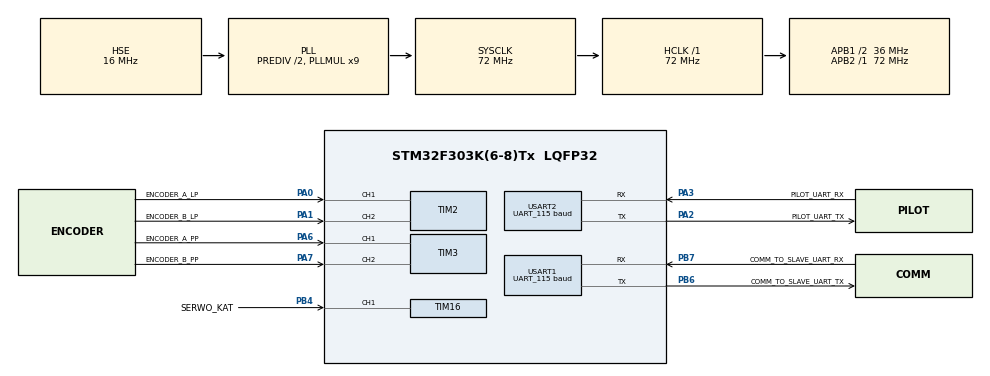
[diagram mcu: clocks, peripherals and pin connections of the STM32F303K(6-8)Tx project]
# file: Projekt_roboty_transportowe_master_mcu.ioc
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Dma.Request0=USART2_RX
Dma.USART2_RX.0.Direction=DMA_PERIPH_TO_MEMORY
Dma.USART2_RX.0.Instance=DMA1_Channel6
Dma.USART2_RX.0.MemDataAlignment=DMA_MDATAALIGN_BYTE
Dma.USART2_RX.0.MemInc=DMA_MINC_ENABLE
Dma.USART2_RX.0.Mode=DMA_CIRCULAR
Dma.USART2_RX.0.PeriphDataAlignment=DMA_PDATAALIGN_BYTE
Dma.USART2_RX.0.PeriphInc=DMA_PINC_DISABLE
Dma.USART2_RX.0.Priority=DMA_PRIORITY_HIGH
Mcu.Family=STM32F3
Mcu.Name=STM32F303K(6-8)Tx
Mcu.Package=LQFP32
Mcu.UserConstants=Hz100,99;Hz20,499;Hz10,999;Pre_20k_360,19;UART_115,115200;Pre_10kHz,7199;Pre_10k,7199;UART_SPEED_MCU,921600;Hz1000,9;Counter_20kHz_360,359;Counter_10kHz_1,9999;UART_230,230400
NVIC.DMA1_Channel6_IRQn=true\:0\:0\:false\:false\:true\:false\:true
NVIC.PriorityGroup=NVIC_PRIORITYGROUP_4
NVIC.TIM1_UP_TIM16_IRQn=true\:0\:0\:false\:false\:true\:true\:true
NVIC.TIM6_DAC1_IRQn=true\:0\:0\:false\:false\:true\:true\:true
NVIC.USART1_IRQn=true\:0\:0\:false\:false\:true\:true\:true
NVIC.USART2_IRQn=true\:0\:0\:false\:false\:true\:true\:true
PA0.GPIO_Label=ENCODER_A_LP
PA0.Signal=S_TIM2_CH1_ETR
PA1.GPIO_Label=ENCODER_B_LP
PA1.Signal=S_TIM2_CH2
PA13.Mode=Serial_Wire
PA13.Signal=SYS_JTMS-SWDIO
PA14.Mode=Serial_Wire
PA14.Signal=SYS_JTCK-SWCLK
PA2.GPIO_Label=PILOT_UART_TX
PA2.Mode=Asynchronous
PA2.Signal=USART2_TX
PA3.GPIO_Label=PILOT_UART_RX
PA3.Mode=Asynchronous
PA3.Signal=USART2_RX
PA6.GPIO_Label=ENCODER_A_PP
PA6.Signal=S_TIM3_CH1
PA7.GPIO_Label=ENCODER_B_PP
PA7.Signal=S_TIM3_CH2
PB4.GPIO_Label=SERWO_KAT
PB4.Signal=S_TIM16_CH1
PB6.GPIO_Label=COMM_TO_SLAVE_UART_TX
PB6.Mode=Asynchronous
PB6.Signal=USART1_TX
PB7.GPIO_Label=COMM_TO_SLAVE_UART_RX
PB7.Mode=Asynchronous
PB7.Signal=USART1_RX
PF0\ /\ OSC_IN.Mode=HSE-External-Clock-Source
PF0\ /\ OSC_IN.Signal=RCC_OSC_IN
ProjectManager.HeapSize=0x200
ProjectManager.StackSize=0x400
ProjectManager.TargetToolchain=STM32CubeIDE
RCC.AHBFreq_Value=72000000
RCC.APB1CLKDivider=RCC_HCLK_DIV2
RCC.APB1Freq_Value=36000000
RCC.APB1TimFreq_Value=72000000
RCC.APB2Freq_Value=72000000
RCC.APB2TimFreq_Value=72000000
RCC.CortexFreq_Value=72000000
RCC.HCLKFreq_Value=72000000
RCC.HSE_VALUE=16000000
RCC.HSI_VALUE=8000000
RCC.PLLMUL=RCC_PLL_MUL9
RCC.PLLSourceVirtual=RCC_PLLSOURCE_HSE
RCC.RCC_PLLsource_Clock_Source_FROM_HSE=RCC_HSE_PREDIV_DIV2
RCC.SYSCLKFreq_VALUE=72000000
RCC.SYSCLKSourceVirtual=RCC_SYSCLKSOURCE_PLLCLK
RCC.Usart1ClockSelection=RCC_USART1CLKSOURCE_SYSCLK
SH.S_TIM16_CH1.0=TIM16_CH1,Input_Capture1_from_TI1
SH.S_TIM2_CH1_ETR.0=TIM2_CH1,Encoder_Interface
SH.S_TIM2_CH2.0=TIM2_CH2,Encoder_Interface
SH.S_TIM3_CH1.0=TIM3_CH1,Encoder_Interface
SH.S_TIM3_CH2.0=TIM3_CH2,Encoder_Interface
TIM16.Channel=TIM_CHANNEL_1
TIM16.ICFilter_CH1=15
TIM16.ICPolarity_CH1=TIM_INPUTCHANNELPOLARITY_BOTHEDGE
TIM16.Period=Counter_10kHz_1
TIM16.Prescaler=Pre_10kHz
TIM2.EncoderMode=TIM_ENCODERMODE_TI12
TIM2.IC1Filter=15
TIM2.IC2Filter=15
TIM3.EncoderMode=TIM_ENCODERMODE_TI12
TIM3.IC1Filter=15
TIM3.IC2Filter=15
TIM6.Period=Hz10
TIM6.Prescaler=Pre_10kHz
USART1.BaudRate=UART_115
USART1.VirtualMode-Asynchronous=VM_ASYNC
USART2.BaudRate=UART_115
USART2.VirtualMode-Asynchronous=VM_ASYNC
VP_TIM16_VS_ClockSourceINT.Mode=Enable_Timer
VP_TIM6_VS_ClockSourceINT.Mode=Enable_Timer
board=NUCLEO-F303K8

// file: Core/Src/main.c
/* USER CODE BEGIN Header */
/**
  ******************************************************************************
  * @file           : main.c
  * @brief          : Main program body
  ******************************************************************************
  * @attention
  *
  * Copyright (c) 2022 STMicroelectronics.
  * All rights reserved.
  *
  * This software is licensed under terms that can be found in the LICENSE file
  * in the root directory of this software component.
  * If no LICENSE file comes with this software, it is provided AS-IS.
  *
  ******************************************************************************
  */
/* USER CODE END Header */
#include "main.h"
#include "dma.h"
#include "tim.h"
#include "usart.h"
#include "gpio.h"

/* USER CODE BEGIN Includes */
//https://github.com/mokhwasomssi/stm32_hal_ibus
#include "ibus.h"
#include <stdio.h>
#include <stdlib.h>
#include <stdbool.h>
#include "MOT.h"

/* USER CODE END Includes */

/* USER CODE BEGIN PV */
#define IBUS_UART (&huart2)
#define IBUS_USER_CHANNELS 6

#define MCU_UART (&huart1)
#define MCU_SEND_LEN 14

#define ENCODER_LEWY (&htim2)
#define ENCODER_PRAWY (&htim3)
#define PWM_TIMER_SILNIKI (&htim1)
#define IC_TIMER_SERWO (&htim16)
#define COMM_TIMER (&htim6)
#define COMM_HZ 10

#define CW 0
#define CCW 1

//DEFINES INSIDE MOT.h OF MOTOR PROPERTIES

/* USER CODE END PV */

void SystemClock_Config(void);

/* USER CODE BEGIN 0 */
uint8_t MCU_send_data[MCU_SEND_LEN];

bool odebranie;
bool MA;
bool OFF_ON;

int8_t COMM_flaga = 0;

uint16_t ibus_data[IBUS_USER_CHANNELS];

int16_t pomiar_przod_lewy = 0;
int16_t pomiar_przod_prawy = 0;

int16_t pomiar_serwo_kat = 0;

motor mot_przod_lewy;
motor mot_przod_prawy;
int16_t ms = 50;

int16_t I1_V;
int16_t I2_OMEGA;
int16_t I3_PLCHLDR;
int16_t I4_V_MAX;
int16_t I5_MA;
int16_t I6_ONOFF;

uint32_t IC_Captured = 0;
uint32_t T0 = 0;
uint32_t T1 = 0;

void HAL_UART_RxCpltCallback(UART_HandleTypeDef *huart);
void HAL_TIM_PeriodElapsedCallback (TIM_HandleTypeDef* htim);
int16_t to_process_range(int16_t input);
int16_t to_communication_range(int16_t input, int16_t replacement);
bool check_communication(int16_t input);
int16_t to_DAC(int16_t input, float min, float max);
void HAL_TIM_IC_CaptureCallback(TIM_HandleTypeDef *htim);

/* USER CODE END 0 */

int main(void)
{

  /* MCU Configuration--------------------------------------------------------*/

  /* Reset of all peripherals, Initializes the Flash interface and the Systick. */
  HAL_Init();

  /* Configure the system clock */
  SystemClock_Config();

  /* Initialize all configured peripherals */
  MX_GPIO_Init();
  MX_TIM3_Init();
  MX_USART1_UART_Init();
  MX_TIM2_Init();
  MX_TIM6_Init();
  MX_TIM16_Init();
  MX_DMA_Init();
  MX_USART2_UART_Init();
  /* USER CODE BEGIN 2 */
  //INIT komunikacji ze zdalna aparatura
  ibus_init();
  __HAL_UART_ENABLE_IT(MCU_UART, UART_IT_RXNE);  // Interrupt Enable
  __HAL_UART_ENABLE_IT(MCU_UART, UART_IT_TC);

  //komunikacja timer
  HAL_TIM_Base_Start_IT(COMM_TIMER);
  HAL_TIM_IC_Start_IT(IC_TIMER_SERWO, TIM_CHANNEL_1);
  HAL_TIM_Encoder_Start(ENCODER_LEWY, TIM_CHANNEL_ALL);
  HAL_TIM_Encoder_Start(ENCODER_PRAWY, TIM_CHANNEL_ALL);

  //Motor inicjalizacja
  motor_init(&mot_przod_lewy);
  motor_init(&mot_przod_prawy);

  /* USER CODE END 2 */

  /* Infinite loop */
  /* USER CODE BEGIN WHILE */
  while (1)
  {

	  //ODBIOR Z KOMUNIKACJI I OBROBKA DANYCH
	  if(COMM_flaga == 1){

		  COMM_flaga = 0;

		  //LEWE
		  pomiar_przod_lewy = to_process_range(motor_calculate_speed(&mot_przod_lewy, ENCODER_LEWY, COMM_HZ));

		  //PRAWE
		  pomiar_przod_prawy = to_process_range(motor_calculate_speed(&mot_przod_prawy, ENCODER_PRAWY, COMM_HZ));

		  //SERWO
		  pomiar_serwo_kat = to_process_range((int16_t)((((float)(T0))/ ((float)(T0+T1)))*1000.0));

		  odebranie = ibus_read(ibus_data);
		  ibus_soft_failsafe(ibus_data, 10);

		  I1_V = to_communication_range(ibus_data[1], 1500);
		  I2_OMEGA = to_communication_range(ibus_data[0],1500);
		  I3_PLCHLDR = to_communication_range(ibus_data[3],1500);
		  I4_V_MAX = to_communication_range(ibus_data[4],2000);
		  I5_MA = to_communication_range(ibus_data[2],0);
		  if (I5_MA == 0){ibus_data[5] = 1000;} 				//JEŚLI NIE MA TRYBU W ODPOWIEDNIM RANGE TO STOP
		  I6_ONOFF = to_communication_range(ibus_data[5],1000);

		  //SPROWADZENIE WARTOSCI DO BOOL
		  OFF_ON = check_communication(I6_ONOFF);
		  MA = check_communication(I5_MA);

		  I1_V = to_process_range(2*(I1_V-1500));
		  I2_OMEGA = to_process_range(2*(I2_OMEGA-1500));
		  I4_V_MAX = to_process_range((I4_V_MAX-1000));

		  //JEŚLI WY�?ĄCZONY TO TRYB MANUALNY NADPISUJACY ZEROWE STEROWANIA
		  if (OFF_ON == 0){ MA = 0;}

		  //W�?ĄCZONY
		  if (OFF_ON == 1){
			  if (I1_V > I4_V_MAX){ I1_V = I4_V_MAX; }
			  if (I1_V < -I4_V_MAX){ I1_V = -I4_V_MAX; }
		  }

		  //WY�?ĄCZONY - WPISANIE ZERA
		  else{
			  I1_V = 0;
		  }
		  if(OFF_ON == 1){MCU_send_data[0] = 1;}
		  else{MCU_send_data[0] = 0;}
		  if(MA == 1){MCU_send_data[1] = 1;}
		  else{MCU_send_data[1] = 0;}
		  MCU_send_data[2] = (uint8_t)pomiar_przod_lewy;
		  MCU_send_data[3] = (uint8_t)(pomiar_przod_lewy >> 8);
		  MCU_send_data[4] = (uint8_t)pomiar_przod_prawy;
		  MCU_send_data[5] = (uint8_t)(pomiar_przod_prawy >> 8);
		  MCU_send_data[6] = (uint8_t)pomiar_serwo_kat;
		  MCU_send_data[7] = (uint8_t)(pomiar_serwo_kat >> 8);
		  MCU_send_data[8] = (uint8_t)I1_V;
		  MCU_send_data[9] = (uint8_t)(I1_V >> 8);
		  MCU_send_data[10] = (uint8_t)I2_OMEGA;
		  MCU_send_data[11] = (uint8_t)(I2_OMEGA >> 8);
		  MCU_send_data[12] = (uint8_t)I4_V_MAX;
		  MCU_send_data[13] = (uint8_t)(I4_V_MAX >> 8);
		  HAL_UART_Transmit_IT(MCU_UART, MCU_send_data, sizeof(MCU_send_data));

	  }

    /* USER CODE END WHILE */

  }
}

void SystemClock_Config(void)
{
  RCC_OscInitTypeDef RCC_OscInitStruct = {0};
  RCC_ClkInitTypeDef RCC_ClkInitStruct = {0};
  RCC_PeriphCLKInitTypeDef PeriphClkInit = {0};

  /** Initializes the RCC Oscillators according to the specified parameters
  * in the RCC_OscInitTypeDef structure.
  */
  RCC_OscInitStruct.OscillatorType = RCC_OSCILLATORTYPE_HSE;
  RCC_OscInitStruct.HSEState = RCC_HSE_BYPASS;
  RCC_OscInitStruct.HSEPredivValue = RCC_HSE_PREDIV_DIV2;
  RCC_OscInitStruct.HSIState = RCC_HSI_ON;
  RCC_OscInitStruct.PLL.PLLState = RCC_PLL_ON;
  RCC_OscInitStruct.PLL.PLLSource = RCC_PLLSOURCE_HSE;
  RCC_OscInitStruct.PLL.PLLMUL = RCC_PLL_MUL9;
  if (HAL_RCC_OscConfig(&RCC_OscInitStruct) != HAL_OK)
  {
    Error_Handler();
  }
  /** Initializes the CPU, AHB and APB buses clocks
  */
  RCC_ClkInitStruct.ClockType = RCC_CLOCKTYPE_HCLK|RCC_CLOCKTYPE_SYSCLK
                              |RCC_CLOCKTYPE_PCLK1|RCC_CLOCKTYPE_PCLK2;
  RCC_ClkInitStruct.SYSCLKSource = RCC_SYSCLKSOURCE_PLLCLK;
  RCC_ClkInitStruct.AHBCLKDivider = RCC_SYSCLK_DIV1;
  RCC_ClkInitStruct.APB1CLKDivider = RCC_HCLK_DIV2;
  RCC_ClkInitStruct.APB2CLKDivider = RCC_HCLK_DIV1;

  if (HAL_RCC_ClockConfig(&RCC_ClkInitStruct, FLASH_LATENCY_2) != HAL_OK)
  {
    Error_Handler();
  }
  PeriphClkInit.PeriphClockSelection = RCC_PERIPHCLK_USART1;
  PeriphClkInit.Usart1ClockSelection = RCC_USART1CLKSOURCE_SYSCLK;
  if (HAL_RCCEx_PeriphCLKConfig(&PeriphClkInit) != HAL_OK)
  {
    Error_Handler();
  }
}

/* USER CODE BEGIN 4 */

void HAL_UART_RxCpltCallback(UART_HandleTypeDef *huart)
{
	if(huart == IBUS_UART) { ibus_reset_failsafe();}
}

void HAL_TIM_PeriodElapsedCallback (TIM_HandleTypeDef* htim)
{
	if(htim == COMM_TIMER){
		COMM_flaga = 1;
	}
}

int16_t to_process_range(int16_t input)
{
	int16_t out = (int16_t)(((float)(input * Counter_20kHz_360))/1000.0);

	if (out > Counter_20kHz_360) { out = Counter_20kHz_360; }
	else if (out < -Counter_20kHz_360) { out = -Counter_20kHz_360; }

	return out;
}

int16_t to_communication_range(int16_t input, int16_t replacement)
{
	int16_t out;

	if (input < 1000) { out = replacement;}
	else if (input > 2000) { out = replacement;}
	else { out = input;}

	return out;
}

bool check_communication(int16_t input)
{
	bool out;

	if (input < 1050) { out = 0;}
	else if (input > 1950) { out = 1;}
	else { out = 0;}

	return out;
}

int16_t to_DAC(int16_t input, float min, float max)
{
	int16_t out;

	out = (int16_t) ( ((float)(input - 1000) /1000.0) * ( max - min ) + min );

	return out;
}

void HAL_TIM_IC_CaptureCallback(TIM_HandleTypeDef *htim)
{
	if (htim == IC_TIMER_SERWO)
	{
		if (IC_Captured == 0)
		{
			T0 = HAL_TIM_ReadCapturedValue(htim, TIM_CHANNEL_1);
			IC_Captured = 1;
			__HAL_TIM_SET_COUNTER(htim, 0);
		}
		else
		{
			T1 = HAL_TIM_ReadCapturedValue(htim, TIM_CHANNEL_1);

			__HAL_TIM_SET_COUNTER(htim, 0);
			IC_Captured = 0;
		}
	}
}

/* USER CODE END 4 */

void Error_Handler(void)
{
}
